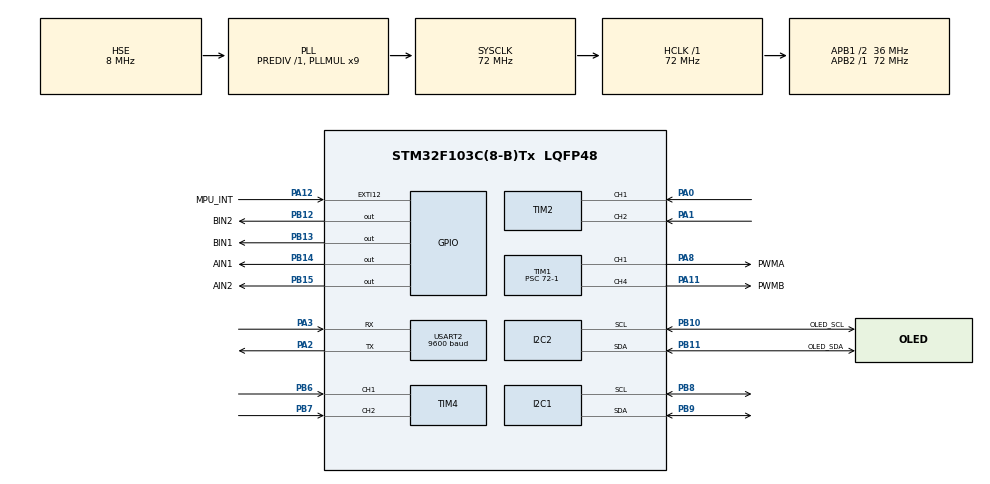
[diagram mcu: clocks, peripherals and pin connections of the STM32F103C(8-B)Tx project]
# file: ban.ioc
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I2C2.I2C_Mode=I2C_Fast
Mcu.Family=STM32F1
Mcu.Name=STM32F103C(8-B)Tx
Mcu.Package=LQFP48
NVIC.EXTI15_10_IRQn=true\:1\:0\:true\:false\:true\:true\:true
NVIC.PriorityGroup=NVIC_PRIORITYGROUP_2
PA0-WKUP.Signal=S_TIM2_CH1_ETR
PA1.Signal=S_TIM2_CH2
PA11.GPIO_Label=PWMB
PA11.Signal=S_TIM1_CH4
PA12.GPIO_Label=MPU_INT
PA12.GPIO_ModeDefaultEXTI=GPIO_MODE_IT_FALLING
PA12.GPIO_PuPd=GPIO_PULLUP
PA12.Signal=GPXTI12
PA13.Mode=Serial_Wire
PA13.Signal=SYS_JTMS-SWDIO
PA14.Mode=Serial_Wire
PA14.Signal=SYS_JTCK-SWCLK
PA2.Mode=Asynchronous
PA2.Signal=USART2_TX
PA3.Mode=Asynchronous
PA3.Signal=USART2_RX
PA8.GPIO_Label=PWMA
PA8.Signal=S_TIM1_CH1
PB10.GPIO_Label=OLED_SCL
PB10.Mode=I2C
PB10.Signal=I2C2_SCL
PB11.GPIO_Label=OLED_SDA
PB11.Mode=I2C
PB11.Signal=I2C2_SDA
PB12.GPIO_Label=BIN2
PB12.GPIO_Speed=GPIO_SPEED_FREQ_HIGH
PB12.Signal=GPIO_Output
PB13.GPIO_Label=BIN1
PB13.GPIO_Speed=GPIO_SPEED_FREQ_HIGH
PB13.Signal=GPIO_Output
PB14.GPIO_Label=AIN1
PB14.GPIO_Speed=GPIO_SPEED_FREQ_HIGH
PB14.Signal=GPIO_Output
PB15.GPIO_Label=AIN2
PB15.GPIO_Speed=GPIO_SPEED_FREQ_HIGH
PB15.Signal=GPIO_Output
PB6.Signal=S_TIM4_CH1
PB7.Signal=S_TIM4_CH2
PB8.Mode=I2C
PB8.Signal=I2C1_SCL
PB9.Mode=I2C
PB9.Signal=I2C1_SDA
PD0-OSC_IN.Mode=HSE-External-Oscillator
PD0-OSC_IN.Signal=RCC_OSC_IN
PD1-OSC_OUT.Mode=HSE-External-Oscillator
PD1-OSC_OUT.Signal=RCC_OSC_OUT
ProjectManager.HeapSize=0x200
ProjectManager.StackSize=0x400
ProjectManager.TargetToolchain=SW4STM32
RCC.AHBFreq_Value=72000000
RCC.APB1CLKDivider=RCC_HCLK_DIV2
RCC.APB1Freq_Value=36000000
RCC.APB1TimFreq_Value=72000000
RCC.APB2Freq_Value=72000000
RCC.APB2TimFreq_Value=72000000
RCC.HCLKFreq_Value=72000000
RCC.PLLMUL=RCC_PLL_MUL9
RCC.PLLSourceVirtual=RCC_PLLSOURCE_HSE
RCC.SYSCLKFreq_VALUE=72000000
RCC.SYSCLKSource=RCC_SYSCLKSOURCE_PLLCLK
RCC.USBFreq_Value=72000000
SH.S_TIM1_CH1.0=TIM1_CH1,PWM Generation1 CH1
SH.S_TIM1_CH4.0=TIM1_CH4,PWM Generation4 CH4
SH.S_TIM2_CH1_ETR.0=TIM2_CH1,Encoder_Interface
SH.S_TIM2_CH2.0=TIM2_CH2,Encoder_Interface
SH.S_TIM4_CH1.0=TIM4_CH1,Encoder_Interface
SH.S_TIM4_CH2.0=TIM4_CH2,Encoder_Interface
TIM1.AutoReloadPreload=TIM_AUTORELOAD_PRELOAD_ENABLE
TIM1.Channel-PWM\ Generation1\ CH1=TIM_CHANNEL_1
TIM1.Channel-PWM\ Generation4\ CH4=TIM_CHANNEL_4
TIM1.Period=1000-1
TIM1.Prescaler=72-1
TIM2.AutoReloadPreload=TIM_AUTORELOAD_PRELOAD_DISABLE
TIM2.EncoderMode=TIM_ENCODERMODE_TI12
TIM2.IC1Filter=10
TIM2.IC2Filter=10
TIM4.AutoReloadPreload=TIM_AUTORELOAD_PRELOAD_DISABLE
TIM4.EncoderMode=TIM_ENCODERMODE_TI12
TIM4.IC1Filter=10
TIM4.IC2Filter=10
USART2.BaudRate=9600
USART2.VirtualMode=VM_ASYNC
VP_TIM1_VS_ClockSourceINT.Mode=Internal
board=custom

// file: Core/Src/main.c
/* USER CODE BEGIN Header */
/**
  ******************************************************************************
  * @file           : main.c
  * @brief          : Main program body
  ******************************************************************************
  * @attention
  *
  * <h2><center>&copy; Copyright (c) 2021 STMicroelectronics.
  * All rights reserved.</center></h2>
  *
  * This software component is licensed by ST under BSD 3-Clause license,
  * the "License"; You may not use this file except in compliance with the
  * License. You may obtain a copy of the License at:
  *                        opensource.org/licenses/BSD-3-Clause
  *
  ******************************************************************************
  */
/* USER CODE END Header */
#include "main.h"
#include "i2c.h"
#include "tim.h"
#include "usart.h"
#include "gpio.h"

/* USER CODE BEGIN Includes */
#include "ssd1306.h"
#include "control.h"
#include "mpu6050.h"
#include "retarget.h"
/* USER CODE END Includes */

/* USER CODE BEGIN PV */
//float Sp_Kp,Sp_Ki;
//float Ba_Kp,Ba_Ki;
extern int speedL,speedR;
extern int Balance_Pwm,Velocity_Pwm;
extern int Encoder_Left, Encoder_Right;
uint8_t Blue_Rx_data;
//region OLED Interface
char OLEDString[8] = {0}; // This is just for OLED Show
//endregion
//region MPU6050 Structure
TM_MPU6050_t MPU6050;
TM_MPU6050_Interrupt_t MPU6050_Interrupts;
//endregion
/* USER CODE END PV */

void SystemClock_Config(void);
/* USER CODE BEGIN PFP */
void OLED_SHOW_GY(float num)
{
    SSD1306_GotoXY(60, 50);
    snprintf(OLEDString,8, "%.3f", num);
    SSD1306_Puts(OLEDString, &Font_7x10, 1);
    SSD1306_UpdateScreen();
}
void OLED_SHOW_arg(float Ba_kp, float Ba_ki, float Sp_kp, float Sp_ki)
{
    // print Ba_kp
    SSD1306_GotoXY(60, 10); // goto 10, 10
    snprintf(OLEDString,8, "%3f", Ba_kp);
    SSD1306_Puts(OLEDString, &Font_7x10, 1);
    // print ,Ba_ki
    SSD1306_GotoXY(60, 20); // goto 10, 10
    snprintf(OLEDString,8, "%3f", Ba_ki);
    SSD1306_Puts(OLEDString, &Font_7x10, 1);
    // print Sp_kp,
    SSD1306_GotoXY(60, 30);
    snprintf(OLEDString,8, "%3f", Sp_kp);
    SSD1306_Puts(OLEDString, &Font_7x10, 1);
    // print Sp_ki
    SSD1306_GotoXY(60, 40);
    snprintf(OLEDString,8, "%3f", Sp_ki);
    SSD1306_Puts(OLEDString, &Font_7x10, 1);
    SSD1306_UpdateScreen();
}
/* USER CODE END PFP */

int main(void)
{

  /* MCU Configuration--------------------------------------------------------*/

  /* Reset of all peripherals, Initializes the Flash interface and the Systick. */
  HAL_Init();

  /* Configure the system clock */
  SystemClock_Config();

  /* Initialize all configured peripherals */
  MX_GPIO_Init();
  MX_I2C2_Init();
  MX_TIM1_Init();
  MX_TIM2_Init();
  MX_TIM4_Init();
  MX_I2C1_Init();
  MX_USART2_UART_Init();
  /* USER CODE BEGIN 2 */
  //region BlueTooth Initiation | Status: Off
//RetargetInit(&huart2);
//HAL_UART_Receive_IT(&huart2,&Blue_Rx_data,1);
//printf("Connect Successfully");
  //endregion
  //region OLED Initiation
  SSD1306_Init(); // initialize the display
  // print Ba_kp
  SSD1306_GotoXY(10, 10); // goto 10, 10
  SSD1306_Puts("Ba_kp:", &Font_7x10, 1);
  // print ,Ba_ki
  SSD1306_GotoXY(10, 20); // goto 10, 10
  SSD1306_Puts("Ba_ki:", &Font_7x10, 1);
  // print Sp_kp,
  SSD1306_GotoXY(10, 30);
  SSD1306_Puts("Sp_kp:", &Font_7x10, 1);
  // print Sp_ki
  SSD1306_GotoXY(10, 40);
  SSD1306_Puts("Sp_ki:", &Font_7x10, 1);
  // print GY
  SSD1306_GotoXY(10, 50);
  SSD1306_Puts("Gy:", &Font_7x10, 1);

  //endregion
  //region MPU6050 Initiation
  if(TM_MPU6050_Init(&MPU6050,TM_MPU6050_Device_0,TM_MPU6050_Accelerometer_2G,TM_MPU6050_Gyroscope_500s)==TM_MPU6050_Result_Ok)
  {
    SSD1306_GotoXY(30, 50);
    SSD1306_Puts("OK", &Font_7x10, 1);
  }
  TM_MPU6050_SetDataRate(&MPU6050,TM_MPU6050_DataRate_100Hz);
  TM_MPU6050_EnableInterrupts(&MPU6050);
  //endregion

  /* USER CODE END 2 */

  /* Infinite loop */
  /* USER CODE BEGIN WHILE */

  //region Car | PWM Enabled | Encoder Initiation
  HAL_TIM_PWM_Start(&htim1,TIM_CHANNEL_1);
  HAL_TIM_PWM_Start(&htim1,TIM_CHANNEL_4);
  HAL_TIM_Encoder_Start_IT(&htim2,TIM_CHANNEL_ALL);
  HAL_TIM_Encoder_Start_IT(&htim4,TIM_CHANNEL_ALL);
  //endregion
//Set_Pwm(200,500);
  SSD1306_UpdateScreen(); // update screen
  while (1)
  {

    //region For MPU Transfer data to OLED | Now Status: Off
//    HAL_Delay (100);
    //endregion
    OLED_SHOW_arg(MPU6050.KalmanAngleY,MPU6050.Gy,Encoder_Left,Encoder_Right );
    OLED_SHOW_GY(speedL);
    /* USER CODE END WHILE */

    /* USER CODE BEGIN 3 */
//    OLED_SHOW_GY(speedR); // Show the angle of Y
  }
  /* USER CODE END 3 */
}

void SystemClock_Config(void)
{
  RCC_OscInitTypeDef RCC_OscInitStruct = {0};
  RCC_ClkInitTypeDef RCC_ClkInitStruct = {0};

  /** Initializes the RCC Oscillators according to the specified parameters
  * in the RCC_OscInitTypeDef structure.
  */
  RCC_OscInitStruct.OscillatorType = RCC_OSCILLATORTYPE_HSE;
  RCC_OscInitStruct.HSEState = RCC_HSE_ON;
  RCC_OscInitStruct.HSEPredivValue = RCC_HSE_PREDIV_DIV1;
  RCC_OscInitStruct.HSIState = RCC_HSI_ON;
  RCC_OscInitStruct.PLL.PLLState = RCC_PLL_ON;
  RCC_OscInitStruct.PLL.PLLSource = RCC_PLLSOURCE_HSE;
  RCC_OscInitStruct.PLL.PLLMUL = RCC_PLL_MUL9;
  if (HAL_RCC_OscConfig(&RCC_OscInitStruct) != HAL_OK)
  {
    Error_Handler();
  }
  /** Initializes the CPU, AHB and APB buses clocks
  */
  RCC_ClkInitStruct.ClockType = RCC_CLOCKTYPE_HCLK|RCC_CLOCKTYPE_SYSCLK
                              |RCC_CLOCKTYPE_PCLK1|RCC_CLOCKTYPE_PCLK2;
  RCC_ClkInitStruct.SYSCLKSource = RCC_SYSCLKSOURCE_PLLCLK;
  RCC_ClkInitStruct.AHBCLKDivider = RCC_SYSCLK_DIV1;
  RCC_ClkInitStruct.APB1CLKDivider = RCC_HCLK_DIV2;
  RCC_ClkInitStruct.APB2CLKDivider = RCC_HCLK_DIV1;

  if (HAL_RCC_ClockConfig(&RCC_ClkInitStruct, FLASH_LATENCY_2) != HAL_OK)
  {
    Error_Handler();
  }
}

/* USER CODE BEGIN 4 */
void HAL_TIM_IC_CaptureCallback(TIM_HandleTypeDef *htim)
{
//  if(htim->Instance == htim2.Instance)
//  {
////    speedR = (int16_t)__HAL_TIM_GET_COUNTER(&htim2); //读取脉冲数 ==>返回脉冲数
//    __HAL_TIM_SET_COUNTER(&htim2,0);      //计数器清零
//  }
//  if(htim->Instance == htim4.Instance)
//  {
////    speedL = (int16_t)__HAL_TIM_GET_COUNTER(&htim4);
//    __HAL_TIM_SET_COUNTER(&htim4,0);
//  }
//  OLED_SHOW_GY(speedL);
}

//void HAL_UART_RxCpltCallback(UART_HandleTypeDef *huart)
//{
//    if(huart->Instance == huart2.Instance)
//    {
//        printf("%f",Blue_Rx_data);
//        HAL_UART_Receive_IT(&huart2,&Blue_Rx_data,1);
//    }
//}
/* USER CODE END 4 */

void Error_Handler(void)
{
  __disable_irq();
  while (1)
  {
  }
}

/************************ (C) COPYRIGHT STMicroelectronics *****END OF FILE****/
